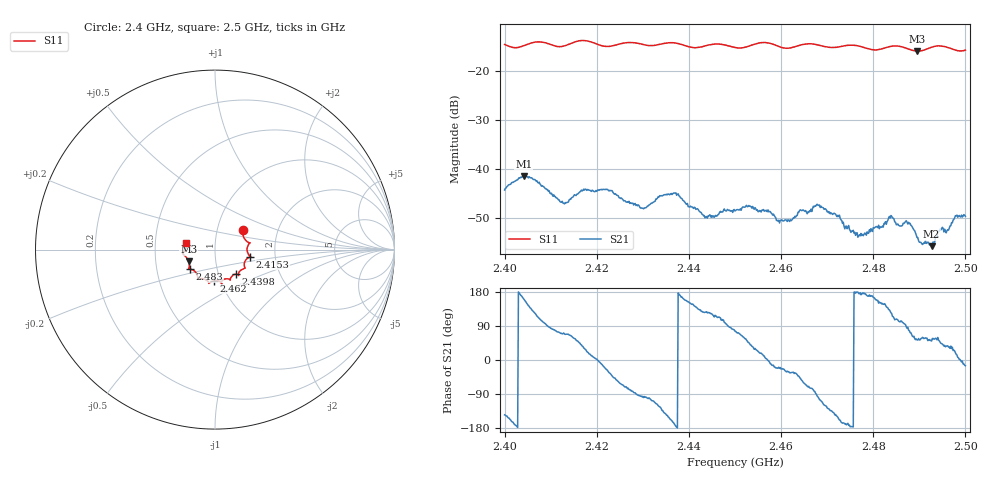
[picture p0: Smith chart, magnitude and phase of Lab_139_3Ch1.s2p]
# Hz S RI R 50
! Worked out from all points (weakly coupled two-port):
!   601 points, 2.4 GHz to 2.5 GHz, reference 50 ohm
!   highest |S21| = -41.50 dB at 2.4042 GHz (marker M1); lowest = -55.9 dB at 2.4927 GHz (marker M2)
!   lowest |S11| = -15.9 dB at 2.4895 GHz (marker M3), VSWR 1.38, Z = 36.9 - j4.99 ohm
!   |S11| at or under -10 dB: start of sweep to end of sweep
!   S12 and S22 are empty: the file has one direction only
!   S11 on the Smith chart (normalised r, x): 2.4 GHz: 1.33, +0.29; 2.4153 GHz: 1.48, -0.12; 2.4398 GHz: 1.21, -0.34; 2.462 GHz: 0.93, -0.33; 2.483 GHz: 0.74, -0.17; 2.5 GHz: 0.72, +0.06
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2.4e9  0.155 0.1065  -0.00494 -0.0035  0 0  0 0
2.404167e9  0.1766 0.0464  -0.00796 0.00274  0 0  0 0
2.4125e9  0.1795 -0.00794  0.00166 0.00433  0 0  0 0
2.415333e9  0.1964 -0.0389  0.00301 0.00444  0 0  0 0
2.416667e9  0.202 -0.0428  0.00462 0.00388  0 0  0 0
2.422833e9  0.1638 -0.0744  0.00494 -0.00343  0 0  0 0
2.43e9  0.153 -0.1098  -0.000412 -0.00391  0 0  0 0
2.433333e9  0.1311 -0.1337  -0.00264 -0.00446  0 0  0 0
2.437167e9  0.1317 -0.143  -0.00564 -0.000499  0 0  0 0
2.439833e9  0.1153 -0.1365  -0.00367 0.00181  0 0  0 0
2.443667e9  0.0866 -0.1607  -0.00189 0.00256  0 0  0 0
2.45e9  0.0646 -0.1627  0.000904 0.00358  0 0  0 0
2.462e9  -0.00521 -0.1732  0.00249 -0.00168  0 0  0 0
2.466667e9  -0.0342 -0.1875  0.000971 -0.00351  0 0  0 0
2.472167e9  -0.0715 -0.1612  -0.00276 -0.00167  0 0  0 0
2.476667e9  -0.0956 -0.155  -0.00198 2.7e-05  0 0  0 0
2.483e9  -0.1377 -0.1095  -0.00217 0.00189  0 0  0 0
2.483333e9  -0.1401 -0.1093  -0.00214 0.00228  0 0  0 0
2.4875e9  -0.1429 -0.0922  0.000169 0.00271  0 0  0 0
2.4895e9  -0.1463 -0.0658  0.00118 0.00158  0 0  0 0
2.492667e9  -0.1737 -0.0295  0.00103 0.00123  0 0  0 0
2.5e9  -0.1598 0.0392  0.00315 -0.000856  0 0  0 0
